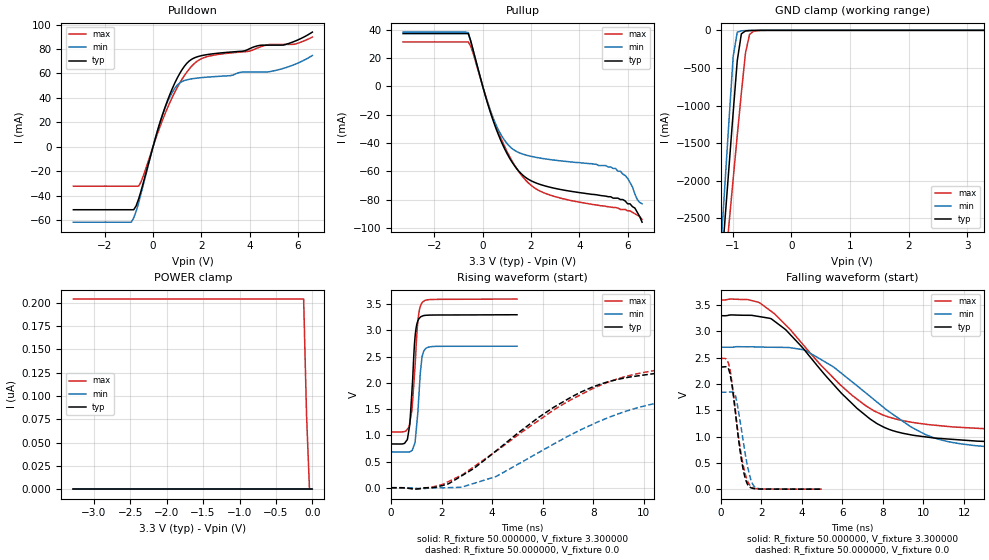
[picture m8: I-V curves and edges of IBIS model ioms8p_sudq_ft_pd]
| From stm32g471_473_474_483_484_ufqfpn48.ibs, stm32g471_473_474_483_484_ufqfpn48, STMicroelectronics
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|   Model ioms8p_sudq_ft_pd
[Model]  ioms8p_sudq_ft_pd
Model_type I/O
Polarity   Non-Inverting
Enable   Active-Low
Vinl =   0.990000V
Vinh =   2.310000V
Vmeas =  1.650000V
Cref =   50.000000pF
Rref =   100.000000M
Vref =   0.0V
C_comp   2.036400pF   1.984000pF   2.082300pF
[Temperature Range]   25.000000   -40.000000   0.125000k
[Pullup Reference]   3.300000V   2.700000V   3.600000V
[Pulldown Reference]   0.0V   0.0V   0.0V
[POWER Clamp Reference]   3.300000V   2.700000V   3.600000V
[GND Clamp Reference]   0.0V   0.0V   0.0V
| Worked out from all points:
|   slope of the pulldown table from 0 to 0.495 V, typ, clamps not added: 15.4 ohm
|   slope of the pullup table from 0 to 0.495 V, typ, clamps not added: 18.1 ohm
|   GND clamp passes 1 mA (typ) near -0.60 V on its own axis
|   rising waveform, R_fixture 50.000000, V_fixture 3.300000: 20-80 % time 178ps typ, 188ps min, 206ps max; typ from 0.835 V to 3.3 V
|   rising waveform, R_fixture 50.000000, V_fixture 0.0: 20-80 % time 4.14ns typ, 4.68ns min, 4.89ns max; typ from 0 V to 2.32 V
|   falling waveform, R_fixture 50.000000, V_fixture 3.300000: 20-80 % time 3.64ns typ, 4.21ns min, 3.94ns max; typ from 3.3 V to 0.835 V
|   falling waveform, R_fixture 50.000000, V_fixture 0.0: 20-80 % time 465ps typ, 483ps min, 520ps max; typ from 2.32 V to 0 V
[Pulldown]
|Voltage   I(typ)   I(min)   I(max)
-3.3V     -51.62mA   -61.83mA   -32.32mA
-900mV    -51.62mA   -61.83mA   -32.32mA
-800mV    -51.62mA   -58.24mA   -32.32mA
-500mV    -36.51mA   -38.71mA   -28.96mA
400mV     26.66mA    26.58mA    22.18mA
800mV     47.72mA    44.74mA    40.6mA
1.1V      59.79mA    52.18mA    51.93mA
1.5V      70.22mA    55.24mA    63.66mA
2.1V      74.97mA    56.75mA    72.88mA
4.9V      83.19mA    61.75mA    83.83mA
5.9V      86.64mA    67.67mA    84.15mA
6.6V      93.9mA     74.68mA    89.84mA
[Pullup]
|Voltage   I(typ)   I(min)   I(max)
-3.3V     37.32mA    38.36mA    31.43mA
-600mV    37.32mA    38.01mA    31.43mA
100mV     -6.166mA   -5.972mA   -5.649mA
500mV     -27.53mA   -25.31mA   -25.83mA
1V        -47.29mA   -40.29mA   -45.86mA
1.5V      -60.05mA   -46.83mA   -60.43mA
2V        -66.7mA    -49.43mA   -69.91mA
2.7V      -70.92mA   -51.53mA   -76.33mA
5.5V      -79mA      -58mA      -85.6mA
6V        -83mA      -65mA      -88mA
6.3V      -86mA      -76mA      -90mA
6.6V      -96mA      -83mA      -94mA
[GND_clamp]
|Voltage   I(typ)   I(min)   I(max)
-3.3V     -9.812A    -9.822A    -9.937A
-1.2V     -3.251A    -2.905A    -3.763A
-1.13V    -2.527A    -2.046A    -3.165A
-1.06V    -1.808A    -1.191A    -2.57A
-990mV    -1.097A    -352.7mA   -1.979A
-920mV    -404.2mA   -25.09mA   -1.398A
-850mV    -46.54mA   -6.516mA   -832.3mA
-780mV    -8.509mA   -3.59mA    -302.4mA
-710mV    -3.395mA   -1.728mA   -53.82mA
-640mV    -1.602mA   -565.6uA   -11.73mA
-360mV    -11.48uA   -7.86uA    -95.15uA
3.28V     87.11uA    57.76uA    110.6uA
[POWER_clamp]
|Voltage   I(typ)   I(min)   I(max)
-3.28V    0A         0A         204.1nA
-120mV    0A         0A         204.1nA
-80mV     0A         0A         79.47nA
-40mV     0A         0A         0A
0V        0A         0A         0A
[Ramp]
| variable   typ   min   max
dV/dt_r  1.39392/4.13946n   1.10652/4.67561n   1.48998/4.88093n
dV/dt_f  1.47861/3.63616n   1.20983/4.20246n   1.52064/3.93271n
R_load = 50.000000
[Rising Waveform]
R_fixture= 50.000000
V_fixture= 3.300000
V_fixture_min= 2.700000
V_fixture_max= 3.600000
|time   V(typ)   V(min)   V(max)
0s        834.7mV    683.1mV    1.064V
530.5ps   846.4mV    681.8mV    1.072V
710.7ps   1.119V     682.9mV    1.161V
820.8ps   1.812V     707mV      1.465V
961ps     2.941V     928.1mV    2.431V
1.061ns   3.185V     1.457V     3.187V
1.161ns   3.256V     2.214V     3.464V
1.261ns   3.279V     2.565V     3.548V
1.481ns   3.292V     2.682V     3.586V
4.985ns   3.299V     2.699V     3.598V
[Rising Waveform]
R_fixture= 50.000000
V_fixture= 0.0
V_fixture_min= 0.0
V_fixture_max= 0.0
|time   V(typ)   V(min)   V(max)
0s        11.64uV    -1.046uV   33.27uV
1.201ns   -11.32mV   -16.3mV    -15.15mV
2.242ns   69.35mV    760.1uV    111mV
4.164ns   706.4mV    215.6mV    699.4mV
5.846ns   1.343V     672mV      1.285V
7.528ns   1.827V     1.109V     1.779V
9.049ns   2.074V     1.417V     2.088V
10.73ns   2.188V     1.632V     2.259V
19.3ns    2.311V     1.834V     2.453V
39.88ns   2.324V     1.844V     2.484V
[Falling Waveform]
R_fixture= 50.000000
V_fixture= 3.300000
V_fixture_min= 2.700000
V_fixture_max= 3.600000
|time   V(typ)   V(min)   V(max)
0s        3.299V     2.699V     3.598V
1.922ns   3.281V     2.704V     3.543V
3.123ns   3.056V     2.696V     3.151V
4.164ns   2.629V     2.642V     2.7V
5.926ns   1.835V     2.211V     1.973V
7.287ns   1.359V     1.789V     1.554V
9.369ns   1.034V     1.187V     1.276V
11.13ns   955.6mV    911.6mV    1.195V
14.09ns   896.3mV    779.4mV    1.13V
39.88ns   834.7mV    683.1mV    1.064V
[Falling Waveform]
R_fixture= 50.000000
V_fixture= 0.0
V_fixture_min= 0.0
V_fixture_max= 0.0
|time   V(typ)   V(min)   V(max)
0s        2.324V     1.844V     2.484V
400.4ps   2.264V     1.846V     2.366V
570.6ps   1.938V     1.849V     1.958V
720.7ps   1.456V     1.779V     1.485V
1.081ns   418.4mV    976mV      496.4mV
1.231ns   173mV      612.9mV    253.9mV
1.441ns   37.47mV    235.1mV    70.25mV
1.662ns   9.269mV    44.95mV    16.97mV
1.862ns   3.566mV    11.65mV    6.115mV
4.985ns   11.64uV    -1.046uV   33.27uV
